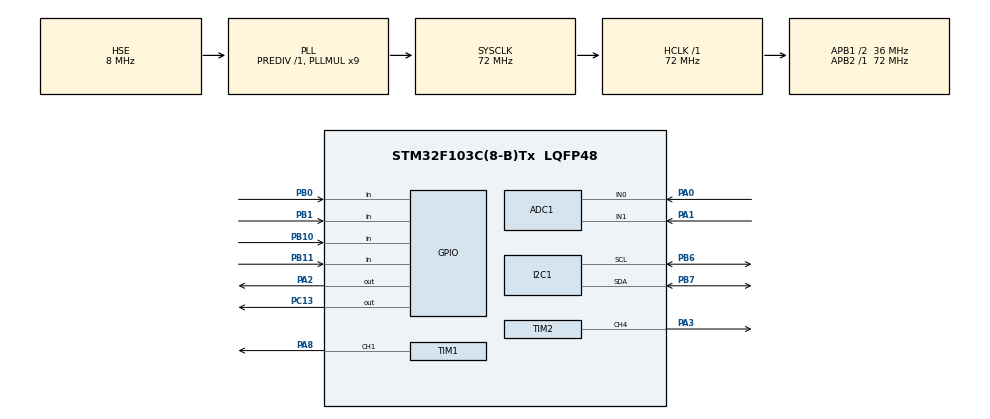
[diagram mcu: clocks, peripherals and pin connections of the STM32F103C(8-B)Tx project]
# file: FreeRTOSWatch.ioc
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ADC1.Channel-0\#ChannelRegularConversion=ADC_CHANNEL_0
ADC1.Channel-1\#ChannelRegularConversion=ADC_CHANNEL_1
ADC1.ContinuousConvMode=DISABLE
ADC1.DiscontinuousConvMode=DISABLE
ADC1.NbrOfConversion=2
ADC1.NbrOfConversionFlag=1
ADC1.Rank-0\#ChannelRegularConversion=1
ADC1.Rank-1\#ChannelRegularConversion=2
ADC1.SamplingTime-0\#ChannelRegularConversion=ADC_SAMPLETIME_13CYCLES_5
ADC1.SamplingTime-1\#ChannelRegularConversion=ADC_SAMPLETIME_13CYCLES_5
ADC1.master=1
Dma.ADC1.0.Direction=DMA_PERIPH_TO_MEMORY
Dma.ADC1.0.Instance=DMA1_Channel1
Dma.ADC1.0.MemDataAlignment=DMA_MDATAALIGN_HALFWORD
Dma.ADC1.0.MemInc=DMA_MINC_ENABLE
Dma.ADC1.0.Mode=DMA_NORMAL
Dma.ADC1.0.PeriphDataAlignment=DMA_PDATAALIGN_HALFWORD
Dma.ADC1.0.PeriphInc=DMA_PINC_DISABLE
Dma.ADC1.0.Priority=DMA_PRIORITY_MEDIUM
Dma.Request0=ADC1
I2C1.I2C_Mode=I2C_Fast
Mcu.Family=STM32F1
Mcu.Name=STM32F103C(8-B)Tx
Mcu.Package=LQFP48
NVIC.DMA1_Channel1_IRQn=true\:0\:0\:false\:false\:true\:false\:true\:true
NVIC.PriorityGroup=NVIC_PRIORITYGROUP_4
NVIC.TIM3_IRQn=true\:0\:0\:false\:false\:true\:true\:true\:true
NVIC.TIM4_IRQn=true\:1\:0\:true\:false\:true\:false\:true\:true
NVIC.TimeBase=TIM4_IRQn
NVIC.TimeBaseIP=TIM4
PA0-WKUP.Signal=ADCx_IN0
PA1.Signal=ADCx_IN1
PA13.Mode=Serial_Wire
PA13.Signal=SYS_JTMS-SWDIO
PA14.Mode=Serial_Wire
PA14.Signal=SYS_JTCK-SWCLK
PA2.GPIO_ModeDefaultOutputPP=GPIO_MODE_OUTPUT_OD
PA2.GPIO_PuPd=GPIO_PULLUP
PA2.GPIO_Speed=GPIO_SPEED_FREQ_LOW
PA2.PinState=GPIO_PIN_SET
PA2.Signal=GPIO_Output
PA3.Signal=S_TIM2_CH4
PA8.Signal=S_TIM1_CH1
PB0.GPIO_PuPd=GPIO_PULLUP
PB0.Signal=GPIO_Input
PB1.GPIO_PuPd=GPIO_PULLUP
PB1.Signal=GPIO_Input
PB10.GPIO_PuPd=GPIO_PULLUP
PB10.Signal=GPIO_Input
PB11.GPIO_PuPd=GPIO_PULLUP
PB11.Signal=GPIO_Input
PB6.Mode=I2C
PB6.Signal=I2C1_SCL
PB7.Mode=I2C
PB7.Signal=I2C1_SDA
PC13-TAMPER-RTC.GPIO_ModeDefaultOutputPP=GPIO_MODE_OUTPUT_OD
PC13-TAMPER-RTC.GPIO_PuPd=GPIO_NOPULL
PC13-TAMPER-RTC.PinState=GPIO_PIN_SET
PC13-TAMPER-RTC.Signal=GPIO_Output
PD0-OSC_IN.Mode=HSE-External-Oscillator
PD0-OSC_IN.Signal=RCC_OSC_IN
PD1-OSC_OUT.Mode=HSE-External-Oscillator
PD1-OSC_OUT.Signal=RCC_OSC_OUT
ProjectManager.HeapSize=0x200
ProjectManager.StackSize=0x400
ProjectManager.TargetToolchain=MDK-ARM V5.32
RCC.ADCPresc=RCC_ADCPCLK2_DIV6
RCC.AHBFreq_Value=72000000
RCC.APB1CLKDivider=RCC_HCLK_DIV2
RCC.APB1Freq_Value=36000000
RCC.APB1TimFreq_Value=72000000
RCC.APB2Freq_Value=72000000
RCC.APB2TimFreq_Value=72000000
RCC.HCLKFreq_Value=72000000
RCC.PLLMUL=RCC_PLL_MUL9
RCC.PLLSourceVirtual=RCC_PLLSOURCE_HSE
RCC.SYSCLKFreq_VALUE=72000000
RCC.SYSCLKSource=RCC_SYSCLKSOURCE_PLLCLK
RCC.USBFreq_Value=72000000
SH.ADCx_IN0.0=ADC1_IN0,IN0
SH.ADCx_IN1.0=ADC1_IN1,IN1
SH.S_TIM1_CH1.0=TIM1_CH1,PWM Generation1 CH1
SH.S_TIM2_CH4.0=TIM2_CH4,PWM Generation4 CH4
TIM1.AutoReloadPreload=TIM_AUTORELOAD_PRELOAD_ENABLE
TIM1.Channel-PWM\ Generation1\ CH1=TIM_CHANNEL_1
TIM1.OCMode_PWM-PWM\ Generation1\ CH1=TIM_OCMODE_PWM1
TIM1.Period=999
TIM1.Prescaler=71
TIM1.Pulse-PWM\ Generation1\ CH1=499
TIM2.AutoReloadPreload=TIM_AUTORELOAD_PRELOAD_ENABLE
TIM2.Channel-PWM\ Generation4\ CH4=TIM_CHANNEL_4
TIM2.Period=999
TIM2.Prescaler=71
TIM2.Pulse-PWM\ Generation4\ CH4=499
TIM3.AutoReloadPreload=TIM_AUTORELOAD_PRELOAD_ENABLE
TIM3.Period=9
TIM3.Prescaler=7199
VP_SYS_VS_tim4.Mode=TIM4
VP_TIM1_VS_ClockSourceINT.Mode=Internal
VP_TIM2_VS_ClockSourceINT.Mode=Internal
VP_TIM3_VS_ClockSourceINT.Mode=Internal
board=custom

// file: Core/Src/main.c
/* USER CODE BEGIN Header */
/**
  ******************************************************************************
  * @file           : main.c
  * @brief          : Main program body
  ******************************************************************************
  * @attention
  *
  * Copyright (c) 2025 STMicroelectronics.
  * All rights reserved.
  *
  * This software is licensed under terms that can be found in the LICENSE file
  * in the root directory of this software component.
  * If no LICENSE file comes with this software, it is provided AS-IS.
  *
  ******************************************************************************
  */
/* USER CODE END Header */
#include "main.h"
#include "adc.h"
#include "dma.h"
#include "i2c.h"
#include "tim.h"
#include "gpio.h"

/* USER CODE BEGIN Includes */
#include "FreeRTOS_Watch.h"
#include "key.h"
#include "u8g2.h"
/* USER CODE END Includes */

void SystemClock_Config(void);
/* USER CODE BEGIN PFP */
uint8_t u8g2_stm32_delay(U8X8_UNUSED u8x8_t *u8x8, U8X8_UNUSED uint8_t msg, U8X8_UNUSED uint8_t arg_int, U8X8_UNUSED void *arg_ptr);
/* USER CODE END PFP */

/* USER CODE BEGIN 0 */
uint8_t u8g2_stm32_delay(U8X8_UNUSED u8x8_t *u8x8, U8X8_UNUSED uint8_t msg, U8X8_UNUSED uint8_t arg_int, U8X8_UNUSED void *arg_ptr)
{
	switch(msg){

	case U8X8_MSG_GPIO_AND_DELAY_INIT:
	    break;

	case U8X8_MSG_DELAY_MILLI:
		HAL_Delay(arg_int);//change it!
	    break;

	default:
		return 0;
	}
	return 1; // command processed successfully.
}
/* USER CODE END 0 */

int main(void)
{

  /* MCU Configuration--------------------------------------------------------*/

  /* Reset of all peripherals, Initializes the Flash interface and the Systick. */
  HAL_Init();

  /* Configure the system clock */
  SystemClock_Config();

  /* Initialize all configured peripherals */
  MX_GPIO_Init();
  MX_DMA_Init();
  MX_I2C1_Init();
  MX_TIM1_Init();
  MX_TIM3_Init();
  MX_ADC1_Init();
  MX_TIM2_Init();
  /* USER CODE BEGIN 2 */
  HAL_TIM_Base_Start_IT(&htim3);
  FreeRTOS_Init();
  /* USER CODE END 2 */

  /* Infinite loop */
  while (1)
  {

  }
}

void SystemClock_Config(void)
{
  RCC_OscInitTypeDef RCC_OscInitStruct = {0};
  RCC_ClkInitTypeDef RCC_ClkInitStruct = {0};
  RCC_PeriphCLKInitTypeDef PeriphClkInit = {0};

  /** Initializes the RCC Oscillators according to the specified parameters
  * in the RCC_OscInitTypeDef structure.
  */
  RCC_OscInitStruct.OscillatorType = RCC_OSCILLATORTYPE_HSE;
  RCC_OscInitStruct.HSEState = RCC_HSE_ON;
  RCC_OscInitStruct.HSEPredivValue = RCC_HSE_PREDIV_DIV1;
  RCC_OscInitStruct.HSIState = RCC_HSI_ON;
  RCC_OscInitStruct.PLL.PLLState = RCC_PLL_ON;
  RCC_OscInitStruct.PLL.PLLSource = RCC_PLLSOURCE_HSE;
  RCC_OscInitStruct.PLL.PLLMUL = RCC_PLL_MUL9;
  if (HAL_RCC_OscConfig(&RCC_OscInitStruct) != HAL_OK)
  {
    Error_Handler();
  }

  /** Initializes the CPU, AHB and APB buses clocks
  */
  RCC_ClkInitStruct.ClockType = RCC_CLOCKTYPE_HCLK|RCC_CLOCKTYPE_SYSCLK
                              |RCC_CLOCKTYPE_PCLK1|RCC_CLOCKTYPE_PCLK2;
  RCC_ClkInitStruct.SYSCLKSource = RCC_SYSCLKSOURCE_PLLCLK;
  RCC_ClkInitStruct.AHBCLKDivider = RCC_SYSCLK_DIV1;
  RCC_ClkInitStruct.APB1CLKDivider = RCC_HCLK_DIV2;
  RCC_ClkInitStruct.APB2CLKDivider = RCC_HCLK_DIV1;

  if (HAL_RCC_ClockConfig(&RCC_ClkInitStruct, FLASH_LATENCY_2) != HAL_OK)
  {
    Error_Handler();
  }
  PeriphClkInit.PeriphClockSelection = RCC_PERIPHCLK_ADC;
  PeriphClkInit.AdcClockSelection = RCC_ADCPCLK2_DIV6;
  if (HAL_RCCEx_PeriphCLKConfig(&PeriphClkInit) != HAL_OK)
  {
    Error_Handler();
  }
}

void HAL_TIM_PeriodElapsedCallback(TIM_HandleTypeDef *htim)
{
  if (htim->Instance == TIM4) {
    HAL_IncTick();
  }
  /* USER CODE BEGIN Callback 1 */
	if(htim->Instance == TIM3)
	{
		static uint8_t Timecount;
		Timecount ++;
		if(Timecount == 20)
		{
			Timecount = 0;
			Key_ReleaseJudge();
		}
	}
  /* USER CODE END Callback 1 */
}

void Error_Handler(void)
{
  __disable_irq();
  while (1)
  {
  }
}
